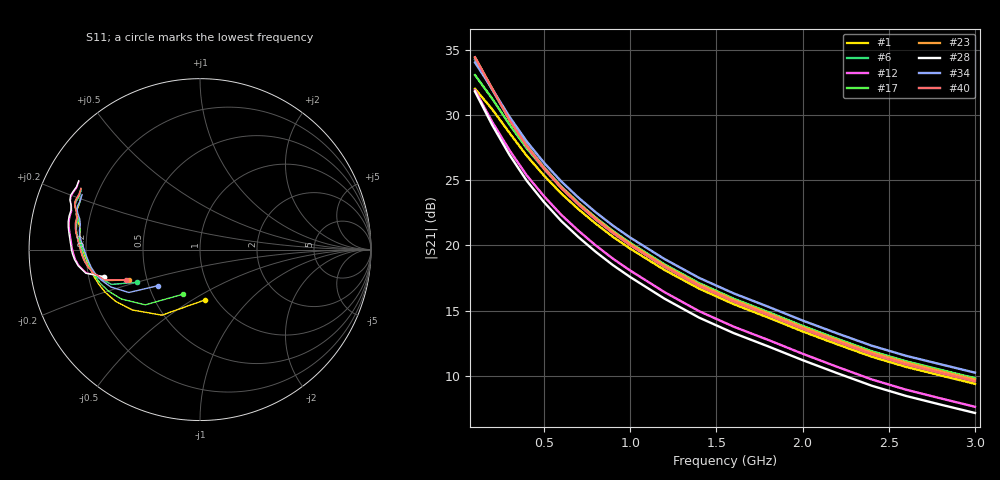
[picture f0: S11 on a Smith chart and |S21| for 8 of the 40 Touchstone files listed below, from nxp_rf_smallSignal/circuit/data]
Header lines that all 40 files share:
! Title: BFG480W
! Company: Philips Semiconductors NL
! User: Quality&Reliability T&D
#  MHz  S  MA  R 50
! Freq  S11  S21  S12  S22  :
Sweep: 100 MHz to 3 GHz
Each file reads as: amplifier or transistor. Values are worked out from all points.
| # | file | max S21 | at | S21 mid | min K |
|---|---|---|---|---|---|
| 1 | BFG480W_3_2V_30mA.s2p | 32.0 dB | 100 MHz | 18.1 dB at 1.2 GHz | 0.29 |
| 2 | BFG480W_3_2V_40mA.s2p | 33.0 dB | 100 MHz | 18.4 dB at 1.2 GHz | 0.33 |
| 3 | BFG480W_3_2V_50mA.s2p | 33.6 dB | 100 MHz | 18.5 dB at 1.2 GHz | 0.36 |
| 4 | BFG480W_3_2V_60mA.s2p | 33.9 dB | 100 MHz | 18.6 dB at 1.2 GHz | 0.39 |
| 5 | BFG480W_3_2V_70mA.s2p | 34.2 dB | 100 MHz | 18.6 dB at 1.2 GHz | 0.41 |
| 6 | BFG480W_3_2V_80mA.s2p | 34.2 dB | 100 MHz | 18.5 dB at 1.2 GHz | 0.45 |
| 7 | BFG480W_3_2V_90mA.s2p | 34.2 dB | 100 MHz | 18.4 dB at 1.2 GHz | 0.48 |
| 8 | BFG480W_3_2V_100mA.s2p | 34.1 dB | 100 MHz | 18.2 dB at 1.2 GHz | 0.51 |
| 9 | BFG480W_3_2V_110mA.s2p | 33.7 dB | 100 MHz | 18.0 dB at 1.2 GHz | 0.56 |
| 10 | BFG480W_3_2V_120mA.s2p | 33.3 dB | 100 MHz | 17.7 dB at 1.2 GHz | 0.62 |
| 11 | BFG480W_3_2V_130mA.s2p | 32.7 dB | 100 MHz | 17.2 dB at 1.2 GHz | 0.70 |
| 12 | BFG480W_3_2V_140mA.s2p | 31.9 dB | 100 MHz | 16.4 dB at 1.2 GHz | 0.80 |
| 13 | BFG480W_3_2V_150mA.s2p | 30.9 dB | 100 MHz | 15.0 dB at 1.2 GHz | 0.92 |
| 14 | BFG480W_3_6V_10mA.s2p | 25.9 dB | 100 MHz | 15.9 dB at 1.2 GHz | 0.18 |
| 15 | BFG480W_3_6V_20mA.s2p | 30.1 dB | 100 MHz | 17.6 dB at 1.2 GHz | 0.27 |
| 16 | BFG480W_3_6V_30mA.s2p | 32.0 dB | 100 MHz | 18.2 dB at 1.2 GHz | 0.33 |
| 17 | BFG480W_3_6V_40mA.s2p | 33.0 dB | 100 MHz | 18.5 dB at 1.2 GHz | 0.36 |
| 18 | BFG480W_3_6V_50mA.s2p | 33.6 dB | 100 MHz | 18.7 dB at 1.2 GHz | 0.38 |
| 19 | BFG480W_3_6V_60mA.s2p | 34.0 dB | 100 MHz | 18.7 dB at 1.2 GHz | 0.40 |
| 20 | BFG480W_3_6V_70mA.s2p | 34.3 dB | 100 MHz | 18.7 dB at 1.2 GHz | 0.42 |
| 21 | BFG480W_3_6V_80mA.s2p | 34.4 dB | 100 MHz | 18.7 dB at 1.2 GHz | 0.44 |
| 22 | BFG480W_3_6V_90mA.s2p | 34.5 dB | 100 MHz | 18.6 dB at 1.2 GHz | 0.47 |
| 23 | BFG480W_3_6V_100mA.s2p | 34.4 dB | 100 MHz | 18.5 dB at 1.2 GHz | 0.50 |
| 24 | BFG480W_3_6V_110mA.s2p | 34.2 dB | 100 MHz | 18.3 dB at 1.2 GHz | 0.53 |
| 25 | BFG480W_3_6V_120mA.s2p | 33.8 dB | 100 MHz | 18.0 dB at 1.2 GHz | 0.58 |
| 26 | BFG480W_3_6V_130mA.s2p | 33.3 dB | 100 MHz | 17.6 dB at 1.2 GHz | 0.65 |
| 27 | BFG480W_3_6V_140mA.s2p | 32.6 dB | 100 MHz | 17.0 dB at 1.2 GHz | 0.74 |
| 28 | BFG480W_3_6V_150mA.s2p | 31.8 dB | 100 MHz | 15.9 dB at 1.2 GHz | 0.85 |
| 29 | BFG480W_4_4V_10mA.s2p | 25.9 dB | 100 MHz | 16.0 dB at 1.2 GHz | 0.22 |
| 30 | BFG480W_4_4V_20mA.s2p | 30.1 dB | 100 MHz | 17.8 dB at 1.2 GHz | 0.32 |
| 31 | BFG480W_4_4V_30mA.s2p | 32.0 dB | 100 MHz | 18.4 dB at 1.2 GHz | 0.38 |
| 32 | BFG480W_4_4V_40mA.s2p | 33.0 dB | 100 MHz | 18.7 dB at 1.2 GHz | 0.43 |
| 33 | BFG480W_4_4V_50mA.s2p | 33.6 dB | 100 MHz | 18.9 dB at 1.2 GHz | 0.45 |
| 34 | BFG480W_4_4V_60mA.s2p | 34.0 dB | 100 MHz | 18.9 dB at 1.2 GHz | 0.45 |
| 35 | BFG480W_4_4V_70mA.s2p | 34.3 dB | 100 MHz | 19.0 dB at 1.2 GHz | 0.45 |
| 36 | BFG480W_4_4V_80mA.s2p | 34.5 dB | 100 MHz | 18.9 dB at 1.2 GHz | 0.46 |
| 37 | BFG480W_4_4V_90mA.s2p | 34.6 dB | 100 MHz | 18.9 dB at 1.2 GHz | 0.47 |
| 38 | BFG480W_4_4V_100mA.s2p | 34.7 dB | 100 MHz | 18.7 dB at 1.2 GHz | 0.48 |
| 39 | BFG480W_4_4V_110mA.s2p | 34.6 dB | 100 MHz | 18.6 dB at 1.2 GHz | 0.51 |
| 40 | BFG480W_4_4V_120mA.s2p | 34.4 dB | 100 MHz | 18.3 dB at 1.2 GHz | 0.54 |
